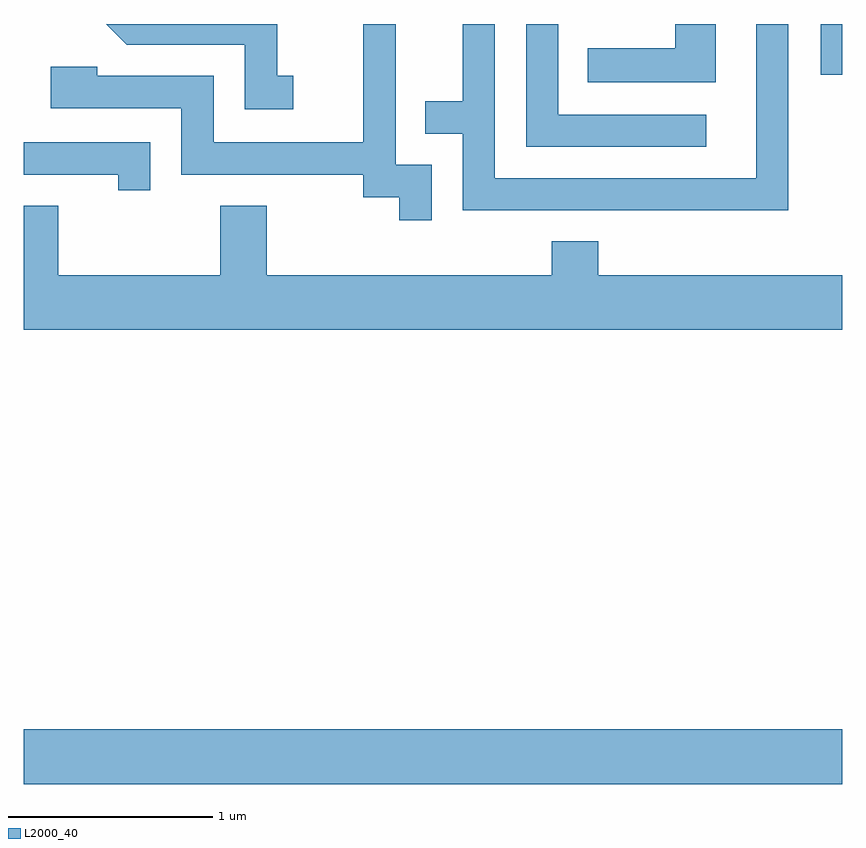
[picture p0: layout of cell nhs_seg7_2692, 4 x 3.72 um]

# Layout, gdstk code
import gdstk
lib = gdstk.Library(unit=1e-6, precision=1e-09)
def R(c, l, rs):  # rectangles x0, y0, x1, y1
    for r in rs: c.add(gdstk.rectangle(r[:2], r[2:], *l))
def P(c, l, *ps):  # polygons
    for p in ps: c.add(gdstk.Polygon(p, *l))
L2000_40 = (2000, 40)

nhs_seg7_2692 = lib.new_cell('nhs_seg7_2692')
R(nhs_seg7_2692, L2000_40, [(267.611,1716.536,271.611,1716.804), (271.506,1720.003,271.611,1720.252)])
P(nhs_seg7_2692, L2000_40, [(271.349,1720.252),(271.191,1720.252),(271.191,1719.499),(269.914,1719.499),(269.914,1720.252),(269.756,1720.252),(269.756,1719.874),(269.573,1719.874),(269.573,1719.716),(269.756,1719.716),(269.756,1719.341),(271.349,1719.341)],
  [(270.948,1719.809),(270.224,1719.809),(270.224,1720.252),(270.066,1720.252),(270.066,1719.651),(270.948,1719.651)],
  [(268.928,1719.999),(268.849,1719.999),(268.849,1720.252),(268.013,1720.252),(268.114,1720.151),(268.691,1720.151),(268.691,1719.836),(268.928,1719.836)],
  [(270.994,1720.252),(270.796,1720.252),(270.796,1720.134),(270.368,1720.134),(270.368,1719.966),(270.994,1719.966)],
  [(269.604,1719.564),(269.429,1719.564),(269.429,1720.252),(269.271,1720.252),(269.271,1719.674),(268.539,1719.674),(268.539,1719.999),(267.969,1719.999),(267.969,1720.044),(267.741,1720.044),(267.741,1719.841),(268.381,1719.841),(268.381,1719.516),(269.271,1719.516),(269.271,1719.406),(269.446,1719.406),(269.446,1719.293),(269.604,1719.293)],
  [(268.229,1719.674),(267.611,1719.674),(267.611,1719.516),(268.071,1719.516),(268.071,1719.438),(268.229,1719.438)],
  [(271.611,1719.024),(270.419,1719.024),(270.419,1719.189),(270.191,1719.189),(270.191,1719.024),(268.799,1719.024),(268.799,1719.364),(268.571,1719.364),(268.571,1719.024),(267.779,1719.024),(267.779,1719.364),(267.611,1719.364),(267.611,1718.756),(271.611,1718.756)])

lib.write_gds('nhs_seg7_2692.gds')
